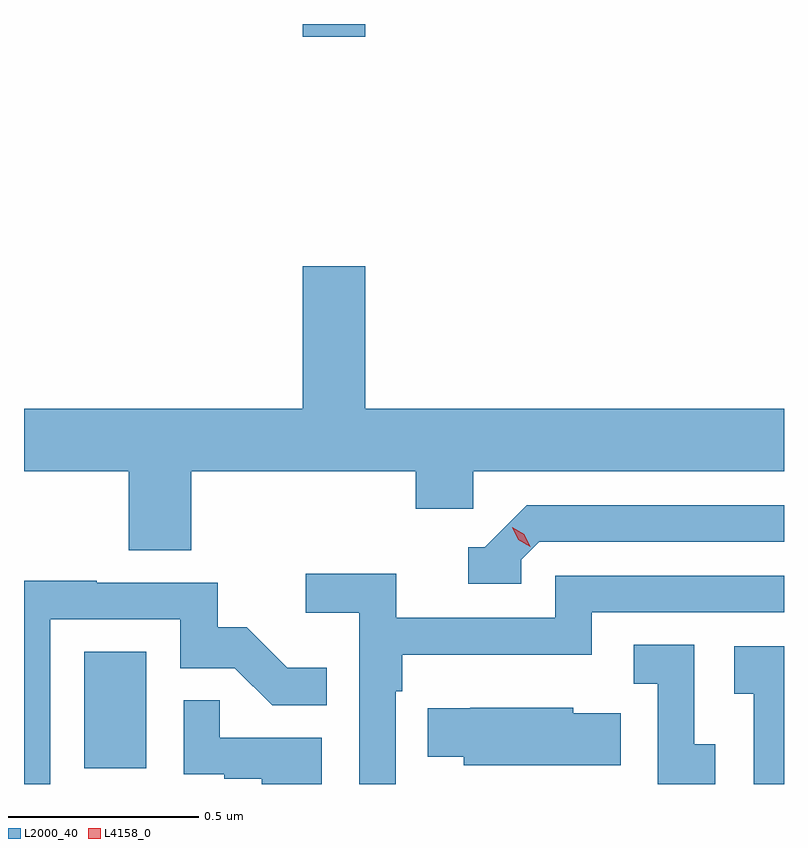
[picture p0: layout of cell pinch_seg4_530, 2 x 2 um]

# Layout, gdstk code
import gdstk
lib = gdstk.Library(unit=1e-6, precision=1e-09)
def R(c, l, rs):  # rectangles x0, y0, x1, y1
    for r in rs: c.add(gdstk.rectangle(r[:2], r[2:], *l))
def P(c, l, *ps):  # polygons
    for p in ps: c.add(gdstk.Polygon(p, *l))
L2000_40 = (2000, 40)
L4158_0 = (4158, 0)

pinch_seg4_530 = lib.new_cell('pinch_seg4_530')
R(pinch_seg4_530, L2000_40, [(979.616,766.734,979.78,767.041), (980.192,768.66,980.356,768.693)])
P(pinch_seg4_530, L2000_40, [(979.898,767.516),(980.489,767.516),(980.489,767.418),(980.64,767.418),(980.64,767.516),(981.458,767.516),(981.458,767.68),(980.356,767.68),(980.356,768.055),(980.192,768.055),(980.192,767.68),(979.458,767.68),(979.458,767.516),(979.733,767.516),(979.733,767.308),(979.898,767.308)],
  [(980.766,767.283),(980.814,767.331),(981.458,767.331),(981.458,767.427),(980.781,767.427),(980.67,767.316),(980.627,767.316),(980.627,767.22),(980.766,767.22)],
  [(980.436,766.937),(980.453,766.937),(980.453,767.033),(980.952,767.033),(980.952,767.145),(981.458,767.145),(981.458,767.241),(980.856,767.241),(980.856,767.13),(980.438,767.13),(980.438,767.246),(980.199,767.246),(980.199,767.144),(980.34,767.144),(980.34,766.693),(980.436,766.693)],
  [(979.527,767.127),(979.869,767.127),(979.869,766.998),(980.013,766.998),(980.111,766.9),(980.255,766.9),(980.255,766.999),(980.151,766.999),(980.044,767.106),(979.968,767.106),(979.968,767.223),(979.649,767.223),(979.649,767.228),(979.458,767.228),(979.458,766.693),(979.527,766.693)],
  [(981.277,766.797),(981.222,766.797),(981.222,767.06),(981.063,767.06),(981.063,766.957),(981.126,766.957),(981.126,766.693),(981.277,766.693)],
  [(981.458,767.055),(981.327,767.055),(981.327,766.931),(981.378,766.931),(981.378,766.693),(981.458,766.693)],
  [(980.242,766.815),(979.973,766.815),(979.973,766.913),(979.878,766.913),(979.878,766.719),(979.985,766.719),(979.985,766.707),(980.084,766.707),(980.084,766.693),(980.242,766.693)],
  [(981.029,766.879),(980.904,766.879),(980.904,766.894),(980.632,766.894),(980.632,766.893),(980.521,766.893),(980.521,766.765),(980.615,766.765),(980.615,766.742),(981.029,766.742)])
P(pinch_seg4_530, L4158_0, [(980.79,767.317),(980.759,767.336),(980.743,767.369),(980.743,767.369),(980.743,767.369),(980.774,767.35),(980.79,767.317),(980.79,767.317)])

lib.write_gds('pinch_seg4_530.gds')
